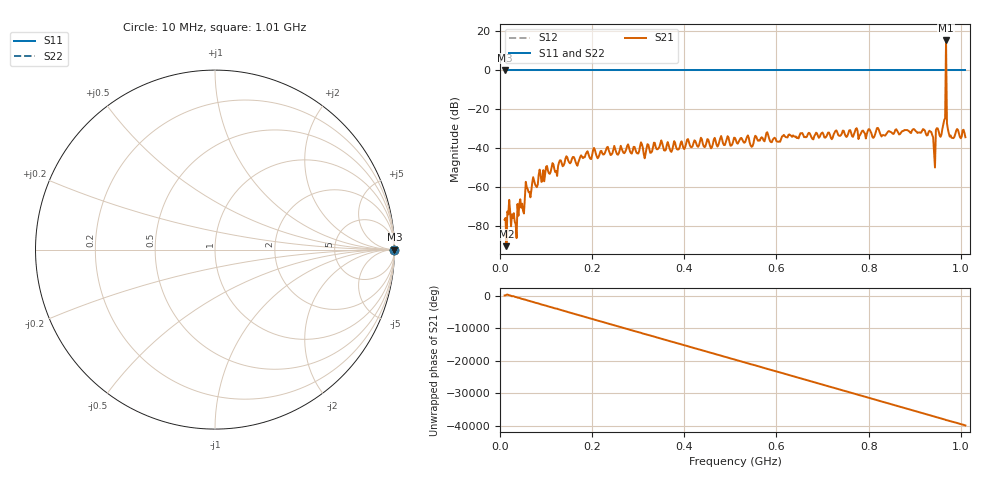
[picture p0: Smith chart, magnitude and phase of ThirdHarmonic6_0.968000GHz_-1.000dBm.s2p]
! 8/16/2025 7:18:02 AM
! C:\ANRITSUVNA\TEMP\TEMP.S2P
! CHANNEL.1
! TR.MEASUREMENT
! RAW.DATA
! RF.CORRECTION.OFF
! AVERAGING.OFF
! IF.BANDWIDTH: 5KHZ
! SWEEPTYPE:  FREQ.SWEEP(Linear)
! Reference Plane Port Info
! PORT:  PORT1  PORT2
! DISTANCE:  0  m  0  m
! TIME:  0  s  0  s
! PHASE.OFFSET:  0  deg.  0  deg.
! LOSS:  0  dB  0  dB
! REF.LOSS:  0  dB  0  dB
! REF.FREQ:  0  Hz  0  Hz
! Power Info
! POWER:  -20  dBm  -20  dBm
! EFF.POWER:  -20  dBm  -20  dBm
! SOURCE.ATTEN:  0  dB  0  dB
! TEST.ATTEN:  0  dB  0  dB
# GHZ S RI R 50.0
! FREQ.GHZ  S11RE  S11IM  S21RE  S21IM  S12RE  S12IM  S22RE  S22IM
!; PortSelection: Port_12
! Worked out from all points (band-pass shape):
!   501 points, 10 MHz to 1.01 GHz, reference 50 ohm
!   highest |S21| = 15.16 dB at 968 MHz (marker M1); lowest = -90.3 dB at 14 MHz (marker M2)
!   |S21| within 3 dB of the highest: 967.8494 MHz to 968.1411 MHz (291.7 kHz wide, 0.0301 % of centre)
!   lowest |S11| = 0.0 dB at 10 MHz (marker M3)
!   |S11| at or under -10 dB: nowhere
!   |S22| runs from 0.0 to 0.0 dB; largest |S21 - S12| = 5.3
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0.01  1 0  0.000126 7.34e-05  1 0  1 0
0.014  1 0  -1.12e-05 -2.84e-05  1 0  1 0
0.02  1 0  -0.000138 0.000449  1 0  1 0
0.032  1 0  0.000128 -1.92e-05  1 0  1 0
0.042  1 0  0.00037 -6.9e-05  1 0  1 0
0.05  1 0  0.000243 3.9e-06  1 0  1 0
0.058  1 0  0.000759 0.00064  1 0  1 0
0.102  1 0  0.00305 0.00164  1 0  1 0
0.178  1 0  -0.00589 -0.00118  1 0  1 0
0.344  1 0  0.00911 -0.00382  1 0  1 0
0.51  1 0  -0.00983 0.0153  1 0  1 0
0.546  1 0  -0.0053 0.00938  1 0  1 0
0.678  1 0  -0.0167 -0.00372  1 0  1 0
0.844  1 0  0.0256 -0.00936  1 0  1 0
0.934  1 0  0.0128 -0.0232  1 0  1 0
0.94  1 0  0.0108 0.0156  1 0  1 0
0.962  1 0  0.00549 -0.0399  1 0  1 0
0.964  1 0  -0.0517 -0.00464  1 0  1 0
0.968  1 0  2.669 -5.072  1 0  1 0
0.972  1 0  -0.0297 0.0071  1 0  1 0
0.974  1 0  0.000637 0.0238  1 0  1 0
1.01  1 0  -0.000758 0.0189  1 0  1 0
